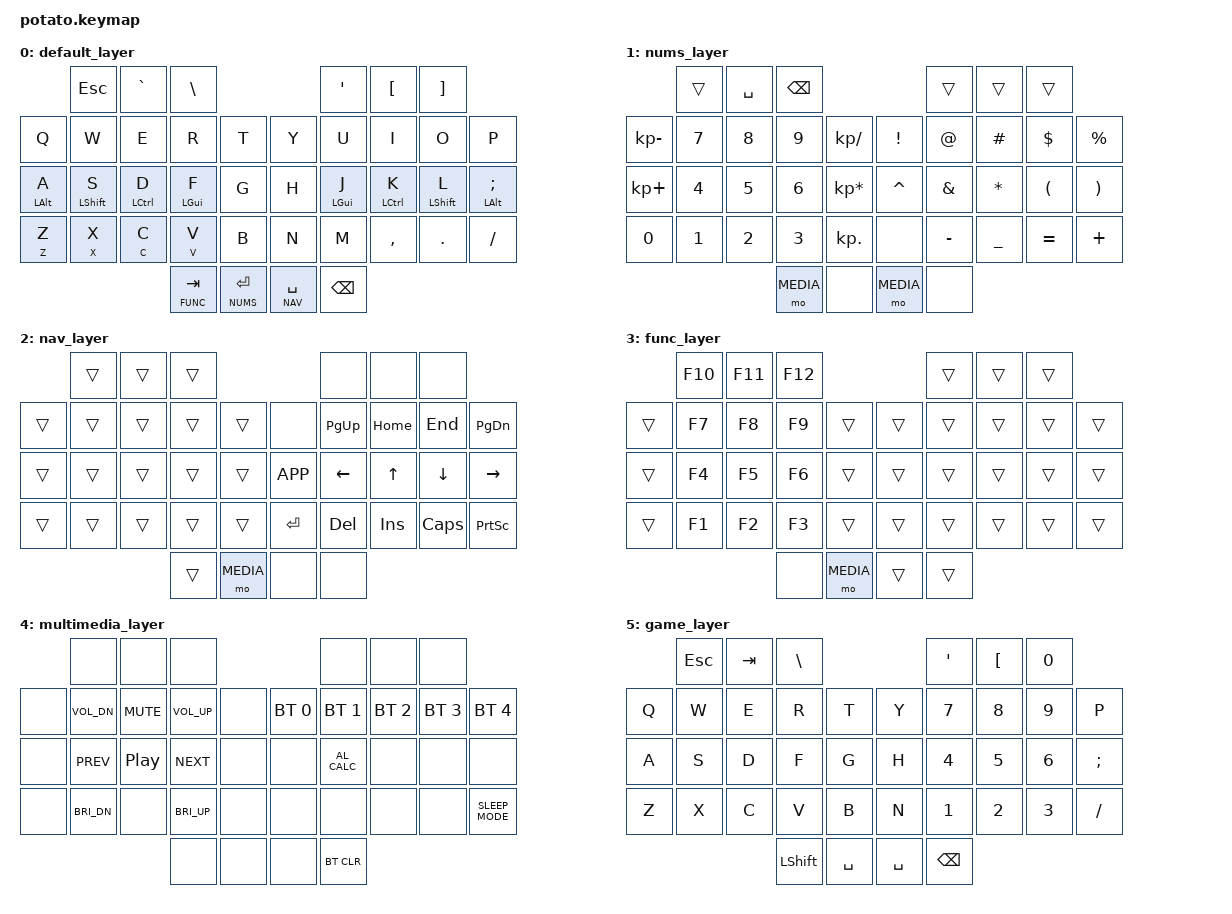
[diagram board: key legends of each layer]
#include <behaviors.dtsi>
#include <dt-bindings/zmk/keys.h>
#include <dt-bindings/zmk/bt.h>

#define DEFAULT 0
#define NUMS    1
#define NAV     2
#define FUNC    3
#define MEDIA   4
#define GAME    5

&lt {
    tapping-term-ms = <150>;
};

/ {
    macros {
        cm: ctrl_mode {
            compatible = "zmk,behavior-macro-one-param";
            #binding-cells = <1>;
            bindings = <&macro_press &kp LCTRL>,
                       <&macro_param_1to1>,
                       <&macro_tap &kp MACRO_PLACEHOLDER>,
                       <&macro_release &kp LCTRL>;
        };
    };

    behaviors {
        hm: homerow_mods {
            compatible = "zmk,behavior-hold-tap";
            #binding-cells = <2>;
            tapping-term-ms = <150>;
            quick-tap-ms = <0>;
            flavor = "tap-preferred";
            bindings = <&kp>, <&kp>;
        };

        cth: ctrl_tap_hold {
            compatible = "zmk,behavior-hold-tap";
            #binding-cells = <2>;
            tapping-term-ms = <150>;
            quick-tap-ms = <0>;
            flavor = "tap-preferred";
            bindings = <&cm>, <&kp>;
        };
    };
    
    combos {
        compatible = "zmk,combos";

        fn_toggle_combo {
            timeout-ms = <50>;
            key-positions = <36 39>;    // RC(4,3) + RC(4,6)
            bindings = <&tog GAME>;
        };
    };

    keymap {
        compatible = "zmk,keymap";

        default_layer {
            bindings = <
                                &kp ESC         &kp GRAVE       &kp BSLH                                                &kp SQT         &kp LBKT        &kp RBKT
                &kp Q           &kp W           &kp E           &kp R           &kp T                   &kp Y           &kp U           &kp I           &kp O           &kp P
                &hm LALT A      &hm LSHIFT S    &hm LCTRL D     &hm LGUI F      &kp G                   &kp H           &hm LGUI J      &hm LCTRL K     &hm LSHIFT L    &hm LALT SEMI
                &cth Z Z        &cth X X        &cth C C        &cth V V        &kp B                   &kp N           &kp M           &kp COMMA       &kp DOT         &kp FSLH
                                                                &lt FUNC TAB    &lt NUMS RET            &lt NAV SPACE   &kp BSPC
            >;
        };

        nums_layer {
            bindings = <
                                &trans          &kp SPACE       &kp BSPC                                                &trans          &trans          &trans
                &kp KP_MINUS    &kp N7          &kp N8          &kp N9          &kp KP_DIVIDE           &kp EXCL        &kp AT          &kp HASH        &kp DOLLAR      &kp PERCENT
                &kp KP_PLUS     &kp N4          &kp N5          &kp N6          &kp KP_MULTIPLY         &kp CARET       &kp AMPS        &kp ASTRK       &kp LPAR        &kp RPAR
                &kp N0          &kp N1          &kp N2          &kp N3          &kp KP_DOT              &none           &kp MINUS       &kp UNDER       &kp EQUAL       &kp PLUS
                                                                &mo MEDIA       &none                   &mo MEDIA       &none
            >;
        };

        nav_layer {
            bindings = <
                                &trans          &trans          &trans                                                  &none           &none           &none
                &trans          &trans          &trans          &trans          &trans                  &none           &kp PAGE_UP     &kp HOME        &kp END         &kp PAGE_DOWN
                &trans          &trans          &trans          &trans          &trans                  &kp K_APP       &kp LEFT_ARROW  &kp UP_ARROW    &kp DOWN_ARROW  &kp RIGHT_ARROW
                &trans          &trans          &trans          &trans          &trans                  &kp RET         &kp DEL         &kp INSERT      &kp CAPS        &kp PSCRN
                                                                &trans          &mo MEDIA               &none           &none
            >;
        };

        func_layer {
            bindings = <
                                &kp F10         &kp F11         &kp F12                                                 &trans          &trans          &trans
                &trans          &kp F7          &kp F8          &kp F9          &trans                  &trans          &trans          &trans          &trans          &trans
                &trans          &kp F4          &kp F5          &kp F6          &trans                  &trans          &trans          &trans          &trans          &trans
                &trans          &kp F1          &kp F2          &kp F3          &trans                  &trans          &trans          &trans          &trans          &trans
                                                                &none           &mo MEDIA               &trans          &trans
            >;
        };

        multimedia_layer {
            bindings = <
                                &none           &none           &none                                                   &none           &none           &none
                &none           &kp C_VOL_DN    &kp C_MUTE      &kp C_VOL_UP    &none                   &bt BT_SEL 0    &bt BT_SEL 1    &bt BT_SEL 2    &bt BT_SEL 3    &bt BT_SEL 4
                &none           &kp C_PREV      &kp C_PP        &kp C_NEXT      &none                   &none           &kp C_AL_CALC   &none           &none           &none
                &none           &kp C_BRI_DN    &none           &kp C_BRI_UP    &none                   &none           &none           &none           &none           &kp C_SLEEP_MODE
                                                                &none           &none                   &none           &bt BT_CLR
            >;
        };

        game_layer {
            bindings = <
                                &kp ESC         &kp TAB         &kp BSLH                                                &kp SQT         &kp LBKT        &kp N0
                &kp Q           &kp W           &kp E           &kp R           &kp T                   &kp Y           &kp N7          &kp N8          &kp N9         &kp P
                &kp A           &kp S           &kp D           &kp F           &kp G                   &kp H           &kp N4          &kp N5          &kp N6         &kp SEMI
                &kp Z           &kp X           &kp C           &kp V           &kp B                   &kp N           &kp N1          &kp N2          &kp N3         &kp FSLH
                                                                &kp LSHIFT      &kp SPACE               &kp SPACE       &kp BSPC
            >;
        };
    };
};
